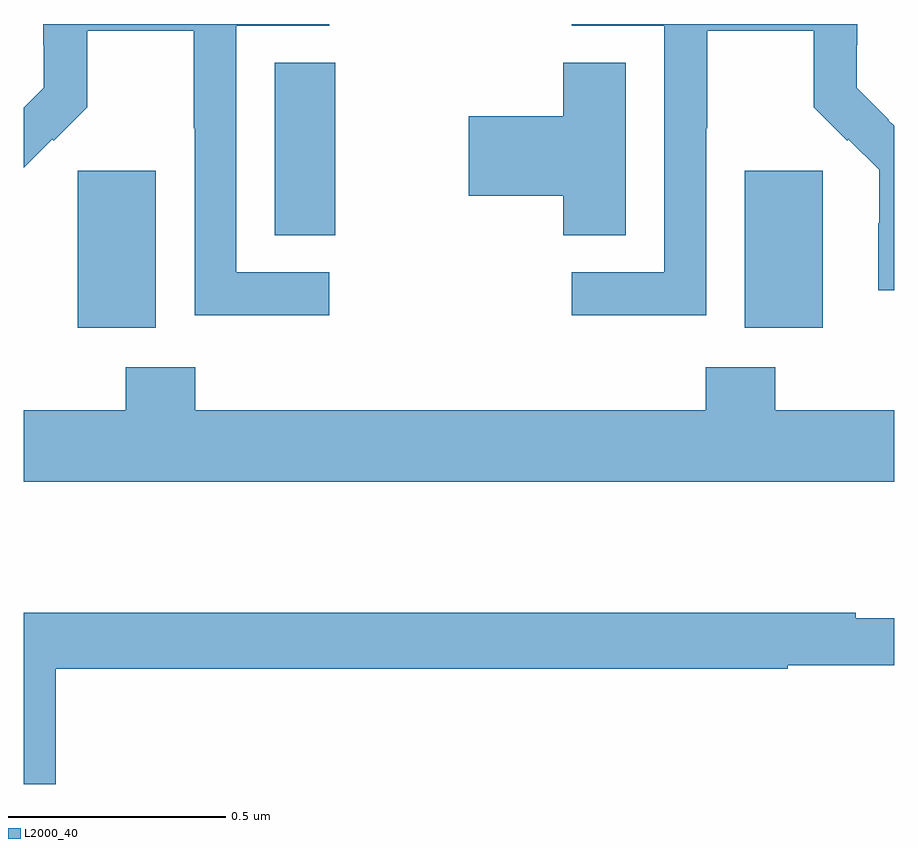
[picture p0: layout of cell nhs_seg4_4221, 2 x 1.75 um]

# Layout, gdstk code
import gdstk
lib = gdstk.Library(unit=1e-6, precision=1e-09)
def R(c, l, rs):  # rectangles x0, y0, x1, y1
    for r in rs: c.add(gdstk.rectangle(r[:2], r[2:], *l))
def P(c, l, *ps):  # polygons
    for p in ps: c.add(gdstk.Polygon(p, *l))
L2000_40 = (2000, 40)

nhs_seg4_4221 = lib.new_cell('nhs_seg4_4221')
R(nhs_seg4_4221, L2000_40, [(163.124,769.202,163.303,769.563), (164.657,769.202,164.836,769.563), (163.577,769.414,163.716,769.811)])
P(nhs_seg4_4221, L2000_40, [(163.702,769.329),(163.488,769.329),(163.488,769.896),(163.702,769.896),(163.702,769.9),(163.044,769.9),(163.044,769.851),(163.046,769.851),(163.046,769.754),(163,769.708),(163,769.57),(163.065,769.635),(163.068,769.632),(163.145,769.709),(163.145,769.884),(163.39,769.884),(163.39,769.66),(163.392,769.66),(163.392,769.231),(163.702,769.231)],
  [(164.568,769.66),(164.571,769.66),(164.571,769.884),(164.815,769.884),(164.815,769.709),(164.892,769.632),(164.895,769.635),(164.966,769.565),(164.966,769.442),(164.964,769.442),(164.964,769.288),(165,769.288),(165,769.666),(164.987,769.679),(164.988,769.68),(164.914,769.754),(164.914,769.851),(164.916,769.851),(164.916,769.9),(164.259,769.9),(164.259,769.896),(164.472,769.896),(164.472,769.329),(164.259,769.329),(164.259,769.231),(164.568,769.231)],
  [(164.383,769.811),(164.24,769.811),(164.24,769.688),(164.022,769.688),(164.022,769.505),(164.24,769.505),(164.24,769.414),(164.383,769.414)],
  [(165,769.012),(164.727,769.012),(164.727,769.111),(164.567,769.111),(164.567,769.012),(163.394,769.012),(163.394,769.111),(163.234,769.111),(163.234,769.012),(163,769.012),(163,768.848),(165,768.848)],
  [(163.073,768.418),(164.756,768.418),(164.756,768.426),(165,768.426),(165,768.534),(164.912,768.534),(164.912,768.547),(163,768.547),(163,768.153),(163.073,768.153)])

lib.write_gds('nhs_seg4_4221.gds')
